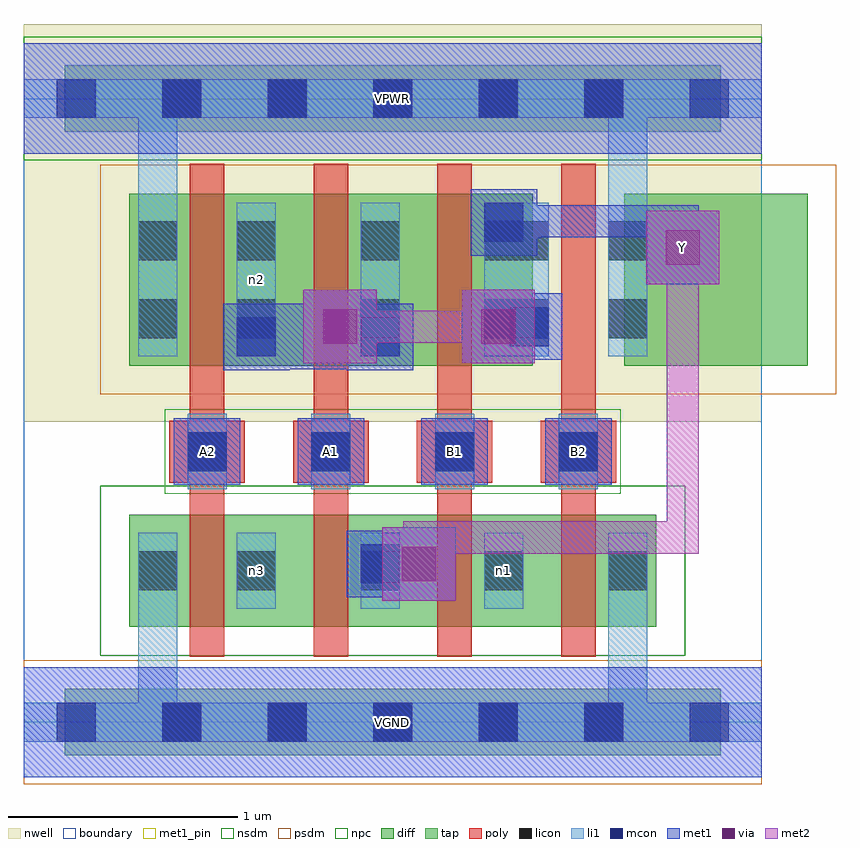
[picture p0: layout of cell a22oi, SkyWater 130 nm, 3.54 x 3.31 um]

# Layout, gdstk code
import gdstk
lib = gdstk.Library(unit=1e-6, precision=1e-09)
def R(c, l, rs):  # rectangles x0, y0, x1, y1
    for r in rs: c.add(gdstk.rectangle(r[:2], r[2:], *l))
def A(c, l, x, y, w, h, nx, ny, dx, dy):  # array of equal rectangles
    R(c, l, [(x+i*dx, y+j*dy, x+i*dx+w, y+j*dy+h) for i in range(nx) for j in range(ny)])
nwell = (64, 20)
diff = (65, 20)
tap = (65, 44)
poly = (66, 20)
licon = (66, 44)
li1 = (67, 20)
mcon = (67, 44)
met1_pin = (68, 16)
met1 = (68, 20)
via = (68, 44)
met2 = (69, 20)
nsdm = (93, 44)
psdm = (94, 20)
npc = (95, 20)
boundary = (235, 4)

a22oi = lib.new_cell('a22oi')
R(a22oi, nwell, [(0,1.31,3.22,3.045)])
R(a22oi, diff, [(0.46,0.415,2.76,0.905), (0.46,1.555,2.22,2.305), (2.62,1.555,3.42,2.305)])
R(a22oi, tap, [(0.18,-0.145,3.04,0.145), (0.18,2.575,3.04,2.865)])
A(a22oi, poly, 0.725, 0.285, 0.15, 2.15, 4, 1, 0.54, 0)
A(a22oi, poly, 0.635, 1.045, 0.33, 0.27, 4, 1, 0.54, 0)
A(a22oi, licon, 0.605, -0.085, 0.17, 0.17, 5, 2, 0.46, 2.72)
A(a22oi, licon, 0.93, 0.575, 0.17, 0.17, 4, 1, 0.54, 0)
A(a22oi, licon, 0.715, 1.095, 0.17, 0.17, 4, 1, 0.54, 0)
A(a22oi, licon, 0.93, 1.675, 0.17, 0.17, 3, 2, 0.54, 0.34)
R(a22oi, licon, [(0.5,0.575,0.67,0.745), (0.5,1.675,0.67,1.845), (2.12,1.675,2.29,1.845), (2.55,1.675,2.72,1.845), (0.5,2.015,0.67,2.185), (2.12,2.015,2.29,2.185), (2.55,2.015,2.72,2.185)])
A(a22oi, li1, 0.93, 0.495, 0.17, 0.33, 4, 1, 0.54, 0)
A(a22oi, li1, 0.715, 1.015, 0.17, 0.33, 4, 1, 0.54, 0)
A(a22oi, li1, 0.93, 1.595, 0.17, 0.67, 3, 1, 0.54, 0)
R(a22oi, li1, [(0,-0.085,3.22,0.085), (0.5,-0.085,0.67,0.825), (2.55,-0.085,2.72,0.825), (0.5,0.495,0.67,0.825), (0.5,1.595,0.67,2.265), (0.5,1.595,0.67,2.805), (2.12,1.595,2.29,2.265), (2.55,1.595,2.72,2.265), (2.55,1.595,2.72,2.805), (0,2.635,3.22,2.805)])
A(a22oi, mcon, 0.145, -0.085, 0.17, 0.17, 7, 2, 0.46, 2.72)
A(a22oi, mcon, 0.715, 1.095, 0.17, 0.17, 4, 1, 0.54, 0)
R(a22oi, mcon, [(1.47,0.605,1.64,0.775), (0.93,1.595,1.1,1.765), (1.47,1.595,1.64,1.765), (2.12,1.64,2.29,1.81), (2.01,2.095,2.18,2.265)])
A(a22oi, met1_pin, 0.655, 1.035, 0.29, 0.29, 4, 1, 0.54, 0)
R(a22oi, met1_pin, [(0,-0.24,3.22,0.24), (2.715,1.91,3.035,2.23), (0,2.48,3.22,2.96)])
A(a22oi, met1, 0.655, 1.035, 0.29, 0.29, 4, 1, 0.54, 0)
R(a22oi, met1, [(0,-0.24,3.22,0.24), (1.565,0.53,1.885,0.85), (1.41,0.545,1.7,0.835), (1.485,0.62,1.795,0.76), (0.87,1.535,1.16,1.825), (1.41,1.535,1.7,1.825), (1.08,1.54,1.22,1.75), (1.08,1.54,1.45,1.68), (1.22,1.54,1.31,1.75), (1.31,1.54,1.45,1.75), (1.31,1.54,1.45,1.795), (1.16,1.565,1.22,1.825), (1.22,1.565,1.54,1.885), (1.91,1.565,2.23,1.885), (2.06,1.58,2.35,1.87), (0.945,1.61,1.22,1.75), (1.22,1.61,1.31,1.75), (1.31,1.61,1.625,1.75), (2,1.655,2.275,1.795), (2.715,1.91,3.035,2.23), (2.805,2,2.945,2.255), (1.95,2.035,2.24,2.325), (2.025,2.11,2.255,2.25), (2.115,2.11,2.255,2.255), (2.115,2.115,2.945,2.255), (0,2.48,3.22,2.96)])
R(a22oi, via, [(1.65,0.615,1.8,0.765), (1.305,1.65,1.455,1.8), (1.995,1.65,2.145,1.8), (2.8,1.995,2.95,2.145)])
R(a22oi, met2, [(1.565,0.53,1.885,0.85), (1.655,0.62,1.795,0.875), (1.655,0.735,2.945,0.875), (2.805,0.735,2.945,2.14), (1.22,1.565,1.54,1.885), (1.91,1.565,2.23,1.885), (1.31,1.655,2.14,1.795), (2.715,1.91,3.035,2.23)])
R(a22oi, nsdm, [(0.335,0.29,2.885,1.03), (0,2.45,3.22,2.99)])
R(a22oi, psdm, [(0,-0.27,3.22,0.27), (0.335,1.43,3.545,2.43)])
R(a22oi, npc, [(0.615,0.995,2.605,1.365)])
R(a22oi, boundary, [(0,0,3.22,2.72)])
a22oi.add(gdstk.Label('n3', (1.015,0.66), layer=67, texttype=5))
a22oi.add(gdstk.Label('n1', (2.095,0.66), layer=67, texttype=5))
a22oi.add(gdstk.Label('n2', (1.015,1.93), layer=67, texttype=5))
a22oi.add(gdstk.Label('A1', (1.34,1.18), layer=68, texttype=5))
a22oi.add(gdstk.Label('A2', (0.8,1.18), layer=68, texttype=5))
a22oi.add(gdstk.Label('B1', (1.88,1.18), layer=68, texttype=5))
a22oi.add(gdstk.Label('B2', (2.42,1.18), layer=68, texttype=5))
a22oi.add(gdstk.Label('Y', (2.875,2.07), layer=68, texttype=5))
a22oi.add(gdstk.Label('VPWR', (1.61,2.72), layer=68, texttype=5))
a22oi.add(gdstk.Label('VGND', (1.61,0), layer=68, texttype=5))
a22oi.add(gdstk.Label('A1', (1.34,1.18), layer=68, texttype=16))
a22oi.add(gdstk.Label('A2', (0.8,1.18), layer=68, texttype=16))
a22oi.add(gdstk.Label('B1', (1.88,1.18), layer=68, texttype=16))
a22oi.add(gdstk.Label('B2', (2.42,1.18), layer=68, texttype=16))
a22oi.add(gdstk.Label('Y', (2.875,2.07), layer=68, texttype=16))
a22oi.add(gdstk.Label('VPWR', (1.61,2.72), layer=68, texttype=16))
a22oi.add(gdstk.Label('VGND', (1.61,0), layer=68, texttype=16))

lib.write_gds('a22oi.gds')
